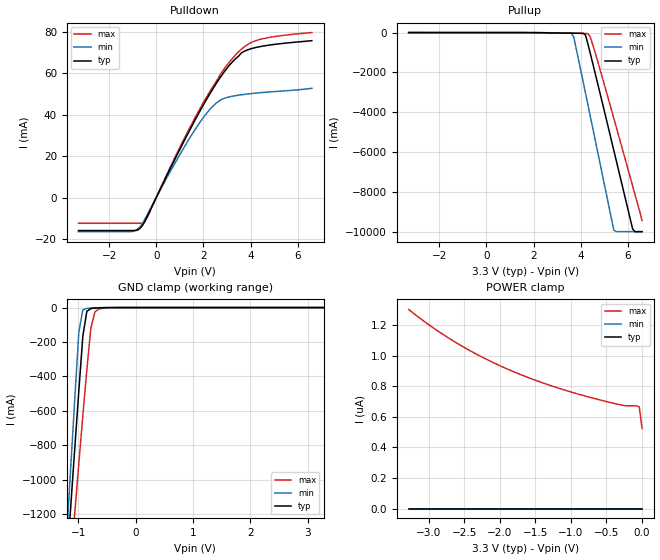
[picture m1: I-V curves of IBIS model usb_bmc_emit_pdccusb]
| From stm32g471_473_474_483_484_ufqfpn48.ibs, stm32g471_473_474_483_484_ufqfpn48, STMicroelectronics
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|   Model usb_bmc_emit_pdccusb
[Model]  usb_bmc_emit_pdccusb
Model_type I/O
Polarity   Non-Inverting
Enable   Active-Low
Vinl =   0.990000V
Vinh =   2.310000V
Vmeas =  0.800000V
Cref =   40.000000pF
Rref =   100.000000M
Vref =   0.0V
C_comp   4.876600pF   4.300600pF   5.368200pF
[Temperature Range]   25.000000   -40.000000   0.125000k
[Pullup Reference]   3.300000V   2.700000V   3.600000V
[Pulldown Reference]   0.0V   0.0V   0.0V
[POWER Clamp Reference]   3.300000V   2.700000V   3.600000V
[GND Clamp Reference]   0.0V   0.0V   0.0V
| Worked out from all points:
|   slope of the pulldown table from 0 to 0.495 V, typ, clamps not added: 42.4 ohm
|   slope of the pullup table from 0 to 0.495 V, typ, clamps not added: 9.8 kohm
|   GND clamp passes 1 mA (typ) near -0.58 V on its own axis
[Pulldown]
|Voltage   I(typ)   I(min)   I(max)
-3.3V     -15.95mA   -16.46mA   -12.41mA
-1V       -15.95mA   -16.39mA   -12.41mA
-700mV    -14.99mA   -14.26mA   -12.41mA
-500mV    -11.89mA   -10.83mA   -11.66mA
900mV     20.96mA    18.72mA    21.88mA
1.9V      42.69mA    37.07mA    43.83mA
2.6V      56.03mA    46.1mA     57.02mA
3.2V      65.09mA    48.82mA    66.74mA
3.6V      69.68mA    49.59mA    71.48mA
4.2V      72.34mA    50.36mA    75.61mA
5.1V      74.02mA    51.2mA     77.81mA
6.6V      75.69mA    52.72mA    79.62mA
[Pullup]
|Voltage   I(typ)   I(min)   I(max)
-3.3V     5.96mA     3.776mA    7.261mA
3.6V      -22.75mA   -28.58mA   -22.46mA
3.7V      -28.15mA   -216.3mA   -23.4mA
4.2V      -116.8mA   -3.035A    -34.86mA
4.3V      -553.1mA   -3.605A    -48.58mA
4.4V      -1.026A    -4.176A    -209.5mA
4.7V      -2.475A    -5.896A    -1.369A
5.4V      -5.911A    -9.921A    -4.298A
5.5V      -6.405A    -10A       -4.723A
6.2V      -9.867A    -10A       -7.706A
6.3V      -10A       -10A       -8.133A
6.6V      -10A       -10A       -9.439A
[GND_clamp]
|Voltage   I(typ)   I(min)   I(max)
-3.3V     -9.767A    -9.748A    -9.881A
-1.2V     -1.489A    -1.316A    -1.768A
-1.13V    -1.15A     -919.7mA   -1.477A
-1.06V    -814.4mA   -527.2mA   -1.189A
-990mV    -484.1mA   -143.5mA   -905.3mA
-920mV    -166.2mA   -12.77mA   -627.6mA
-850mV    -21.87mA   -4.511mA   -362mA
-780mV    -5.991mA   -2.83mA    -119.7mA
-710mV    -3.238mA   -1.563mA   -25.44mA
-640mV    -1.838mA   -627.8uA   -8.016mA
-290mV    -1.61uA    0A         -104.4uA
3.28V     0A         0A         431.1nA
[POWER_clamp]
|Voltage   I(typ)   I(min)   I(max)
-3.28V    0A         0A         1.304uA
-2.96V    0A         0A         1.191uA
-2.6V     0A         0A         1.083uA
-2.24V    0A         0A         989.7nA
-1.84V    0A         0A         902.9nA
-1.4V     0A         0A         823.6nA
-880mV    0A         0A         747.1nA
-320mV    0A         0A         680.5nA
-240mV    0A         0A         673.6nA
-80mV     0A         0A         672.6nA
-40mV     0A         0A         665.5nA
0V        0A         0A         524.5nA
[Ramp]
| variable   typ   min   max
dV/dt_r  0.62694/0.30497u   0.61122/0.34599u   0.62844/0.24175u
dV/dt_f  0.63782/0.30542u   0.63454/0.34913u   0.63635/0.25368u
R_load = 1.000000k
|End [Model] usb_bmc_emit_pdccusb
